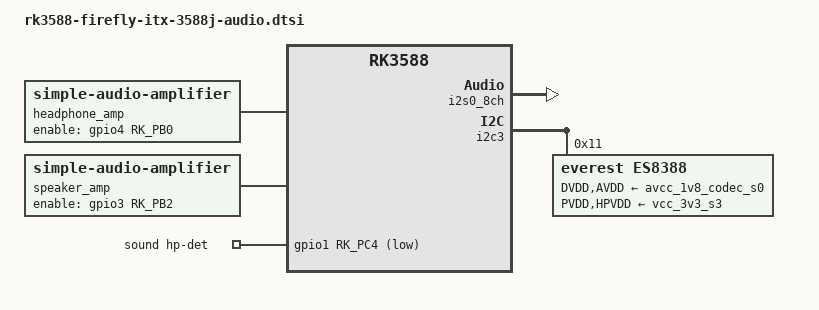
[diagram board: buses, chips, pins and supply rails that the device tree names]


/ {
    headphone_amp: audio-amplifier-headphone {
        compatible = "simple-audio-amplifier";
        enable-gpios = <&gpio4 RK_PB0 GPIO_ACTIVE_HIGH>;
        sound-name-prefix = "Headphones Amp";
    };

    speaker_amp: audio-amplifier-speaker {
        compatible = "simple-audio-amplifier";
        enable-gpios = <&gpio3 RK_PB2 GPIO_ACTIVE_HIGH>;
        sound-name-prefix = "Speaker Amp";
    };

    sound {
        compatible = "simple-audio-card";
        pinctrl-names = "default";
        pinctrl-0 = <&hp_det>;
        simple-audio-card,name = "Analog";
        simple-audio-card,aux-devs = <&speaker_amp>, <&headphone_amp>;
        simple-audio-card,format = "i2s";
        simple-audio-card,mclk-fs = <384>;
        simple-audio-card,hp-det-gpio = <&gpio1 RK_PC4 GPIO_ACTIVE_LOW>;
        simple-audio-card,bitclock-master = <&daicpu>;
        simple-audio-card,frame-master = <&daicpu>;

        simple-audio-card,widgets =
                "Microphone", "Onboard Microphone",
                "Microphone", "Microphone Jack",
                "Speaker", "Speaker",
                "Headphone", "Headphones";

        simple-audio-card,routing =
                "Headphones", "LOUT1",
                "Headphones", "ROUT1",
                "Speaker", "LOUT2",
                "Speaker", "ROUT2",

                "Headphones", "Headphones Amp OUTL",
                "Headphones", "Headphones Amp OUTR",
                "Headphones Amp INL", "LOUT1",
                "Headphones Amp INR", "ROUT1",

                "Speaker", "Speaker Amp OUTL",
                "Speaker", "Speaker Amp OUTR",
                "Speaker Amp INL", "LOUT2",
                "Speaker Amp INR", "ROUT2",

                "LINPUT1", "Microphone Jack",
                "RINPUT1", "Microphone Jack",

                "LINPUT2", "Onboard Microphone",
                "RINPUT2", "Onboard Microphone";

        daicpu: simple-audio-card,cpu {
            sound-dai = <&i2s0_8ch>;
            system-clock-frequency = <12288000>;
        };

        daicodec: simple-audio-card,codec {
            sound-dai = <&es8388>;
            system-clock-frequency = <12288000>;
        };
    };

};

&i2s0_8ch {
    status = "okay";
};

&i2c3 {
    status = "okay";
    es8388: audio-codec@11 {
        compatible = "everest,es8388";
        status = "okay";
        reg = <0x11>;
        #sound-dai-cells = <0>;
        clocks = <&cru I2S0_8CH_MCLKOUT>;
        clock-names = "mclk";
        DVDD-supply = <&avcc_1v8_codec_s0>;
        AVDD-supply = <&avcc_1v8_codec_s0>;
        PVDD-supply = <&vcc_3v3_s3>;
        HPVDD-supply = <&vcc_3v3_s3>;
        pinctrl-names = "default";
        pinctrl-0 = <&i2s0_mclk>;
    };

};
